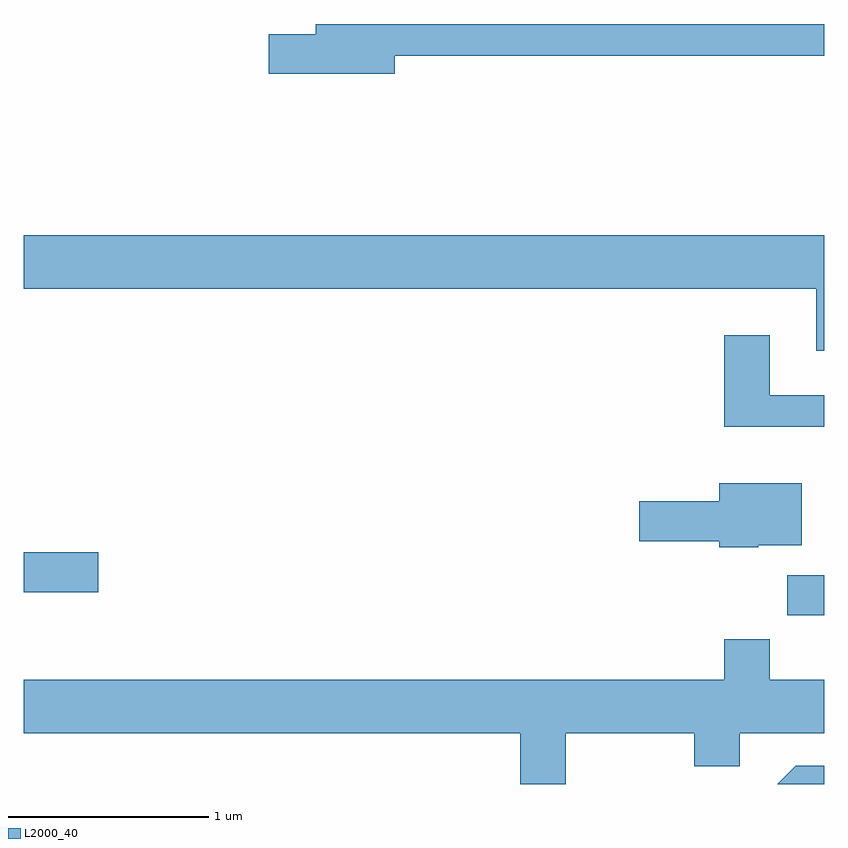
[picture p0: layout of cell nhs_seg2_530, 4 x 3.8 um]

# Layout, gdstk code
import gdstk
lib = gdstk.Library(unit=1e-6, precision=1e-09)
def R(c, l, rs):  # rectangles x0, y0, x1, y1
    for r in rs: c.add(gdstk.rectangle(r[:2], r[2:], *l))
def P(c, l, *ps):  # polygons
    for p in ps: c.add(gdstk.Polygon(p, *l))
L2000_40 = (2000, 40)

nhs_seg2_530 = lib.new_cell('nhs_seg2_530')
R(nhs_seg2_530, L2000_40, [(203.426,1086.646,203.611,1086.844), (199.611,1086.761,199.984,1086.959)])
P(nhs_seg2_530, L2000_40, [(201.464,1089.441),(203.611,1089.441),(203.611,1089.599),(201.071,1089.599),(201.071,1089.549),(200.836,1089.549),(200.836,1089.351),(201.464,1089.351)],
  [(203.611,1088.544),(199.611,1088.544),(199.611,1088.276),(203.571,1088.276),(203.571,1087.966),(203.611,1087.966)],
  [(203.611,1087.744),(203.339,1087.744),(203.339,1088.044),(203.111,1088.044),(203.111,1087.586),(203.611,1087.586)],
  [(203.28,1086.996),(203.499,1086.996),(203.499,1087.304),(203.086,1087.304),(203.086,1087.214),(202.686,1087.214),(202.686,1087.016),(203.086,1087.016),(203.086,1086.986),(203.28,1086.986)],
  [(202.319,1086.056),(202.961,1086.056),(202.961,1085.891),(203.189,1085.891),(203.189,1086.056),(203.611,1086.056),(203.611,1086.324),(203.339,1086.324),(203.339,1086.524),(203.111,1086.524),(203.111,1086.324),(199.611,1086.324),(199.611,1086.056),(202.091,1086.056),(202.091,1085.802),(202.319,1085.802)],
  [(203.611,1085.894),(203.469,1085.894),(203.376,1085.802),(203.611,1085.802)])

lib.write_gds('nhs_seg2_530.gds')
